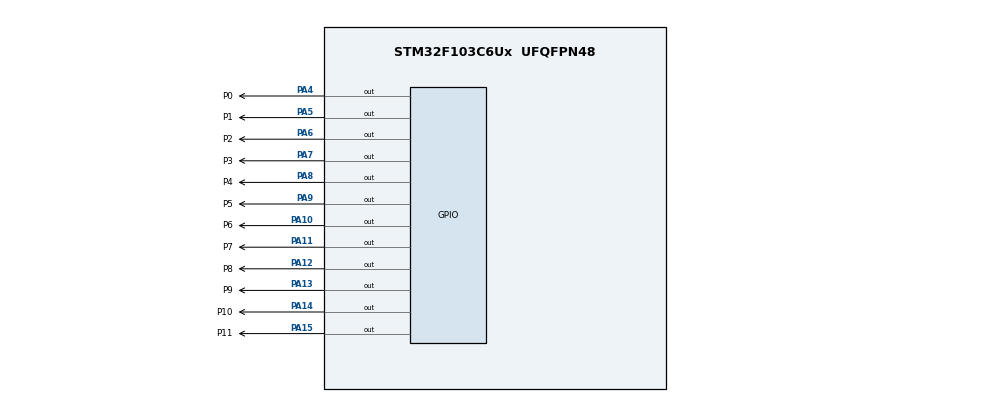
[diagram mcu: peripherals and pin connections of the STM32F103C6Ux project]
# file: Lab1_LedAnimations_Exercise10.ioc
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Mcu.Family=STM32F1
Mcu.Name=STM32F103C6Ux
Mcu.Package=UFQFPN48
NVIC.PriorityGroup=NVIC_PRIORITYGROUP_4
PA10.GPIO_Label=P6
PA10.Signal=GPIO_Output
PA11.GPIO_Label=P7
PA11.Signal=GPIO_Output
PA12.GPIO_Label=P8
PA12.Signal=GPIO_Output
PA13.GPIO_Label=P9
PA13.Signal=GPIO_Output
PA14.GPIO_Label=P10
PA14.Signal=GPIO_Output
PA15.GPIO_Label=P11
PA15.Signal=GPIO_Output
PA4.GPIO_Label=P0
PA4.Signal=GPIO_Output
PA5.GPIO_Label=P1
PA5.Signal=GPIO_Output
PA6.GPIO_Label=P2
PA6.Signal=GPIO_Output
PA7.GPIO_Label=P3
PA7.Signal=GPIO_Output
PA8.GPIO_Label=P4
PA8.Signal=GPIO_Output
PA9.GPIO_Label=P5
PA9.Signal=GPIO_Output
ProjectManager.HeapSize=0x200
ProjectManager.StackSize=0x400
ProjectManager.TargetToolchain=STM32CubeIDE
RCC.APB1Freq_Value=8000000
RCC.APB2Freq_Value=8000000
VP_SYS_VS_ND.Mode=No_Debug
board=custom

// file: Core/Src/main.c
/* USER CODE BEGIN Header */
/**
  ******************************************************************************
  * @file           : main.c
  * @brief          : Main program body
  ******************************************************************************
  * @attention
  *
  * <h2><center>&copy; Copyright (c) 2022 STMicroelectronics.
  * All rights reserved.</center></h2>
  *
  * This software component is licensed by ST under BSD 3-Clause license,
  * the "License"; You may not use this file except in compliance with the
  * License. You may obtain a copy of the License at:
  *                        opensource.org/licenses/BSD-3-Clause
  *
  ******************************************************************************
  */
/* USER CODE END Header */
#include "main.h"

void SystemClock_Config(void);
static void MX_GPIO_Init(void);

/* USER CODE BEGIN 0 */
void clearAllClock() {
	HAL_GPIO_WritePin(P0_GPIO_Port, P0_Pin, GPIO_PIN_RESET);
	HAL_GPIO_WritePin(P1_GPIO_Port, P1_Pin, GPIO_PIN_RESET);
	HAL_GPIO_WritePin(P2_GPIO_Port, P2_Pin, GPIO_PIN_RESET);
	HAL_GPIO_WritePin(P3_GPIO_Port, P3_Pin, GPIO_PIN_RESET);
	HAL_GPIO_WritePin(P4_GPIO_Port, P4_Pin, GPIO_PIN_RESET);
	HAL_GPIO_WritePin(P5_GPIO_Port, P5_Pin, GPIO_PIN_RESET);
	HAL_GPIO_WritePin(P6_GPIO_Port, P6_Pin, GPIO_PIN_RESET);
	HAL_GPIO_WritePin(P7_GPIO_Port, P7_Pin, GPIO_PIN_RESET);
	HAL_GPIO_WritePin(P8_GPIO_Port, P8_Pin, GPIO_PIN_RESET);
	HAL_GPIO_WritePin(P9_GPIO_Port, P9_Pin, GPIO_PIN_RESET);
	HAL_GPIO_WritePin(P10_GPIO_Port, P10_Pin, GPIO_PIN_RESET);
	HAL_GPIO_WritePin(P11_GPIO_Port, P11_Pin, GPIO_PIN_RESET);
}

void setNumberOnClock(int num) {
	if (num == 0) {
		HAL_GPIO_WritePin(P0_GPIO_Port, P0_Pin, GPIO_PIN_SET);
	}
	else if (num == 1) {
		HAL_GPIO_WritePin(P1_GPIO_Port, P1_Pin, GPIO_PIN_SET);
	}
	else if (num == 2) {
		HAL_GPIO_WritePin(P2_GPIO_Port, P2_Pin, GPIO_PIN_SET);
	}
	else if (num == 3) {
		HAL_GPIO_WritePin(P3_GPIO_Port, P3_Pin, GPIO_PIN_SET);
	}
	else if (num == 4) {
		HAL_GPIO_WritePin(P4_GPIO_Port, P4_Pin, GPIO_PIN_SET);
	}
	else if (num == 5) {
		HAL_GPIO_WritePin(P5_GPIO_Port, P5_Pin, GPIO_PIN_SET);
	}
	else if (num == 6) {
		HAL_GPIO_WritePin(P6_GPIO_Port, P6_Pin, GPIO_PIN_SET);
	}
	else if (num == 7) {
		HAL_GPIO_WritePin(P7_GPIO_Port, P7_Pin, GPIO_PIN_SET);
	}
	else if (num == 8) {
		HAL_GPIO_WritePin(P8_GPIO_Port, P8_Pin, GPIO_PIN_SET);
	}
	else if (num == 9) {
		HAL_GPIO_WritePin(P9_GPIO_Port, P9_Pin, GPIO_PIN_SET);
	}
	else if (num == 10) {
		HAL_GPIO_WritePin(P10_GPIO_Port, P10_Pin, GPIO_PIN_SET);
	}
	else if (num == 11) {
		HAL_GPIO_WritePin(P11_GPIO_Port, P11_Pin, GPIO_PIN_SET);
	}
}

void clearNumberOnClock(int num) {
	if (num == 0) {
		HAL_GPIO_WritePin(P0_GPIO_Port, P0_Pin, GPIO_PIN_RESET);
	}
	else if (num == 1) {
		HAL_GPIO_WritePin(P1_GPIO_Port, P1_Pin, GPIO_PIN_RESET);
	}
	else if (num == 2) {
		HAL_GPIO_WritePin(P2_GPIO_Port, P2_Pin, GPIO_PIN_RESET);
	}
	else if (num == 3) {
		HAL_GPIO_WritePin(P3_GPIO_Port, P3_Pin, GPIO_PIN_RESET);
	}
	else if (num == 4) {
		HAL_GPIO_WritePin(P4_GPIO_Port, P4_Pin, GPIO_PIN_RESET);
	}
	else if (num == 5) {
		HAL_GPIO_WritePin(P5_GPIO_Port, P5_Pin, GPIO_PIN_RESET);
	}
	else if (num == 6) {
		HAL_GPIO_WritePin(P6_GPIO_Port, P6_Pin, GPIO_PIN_RESET);
	}
	else if (num == 7) {
		HAL_GPIO_WritePin(P7_GPIO_Port, P7_Pin, GPIO_PIN_RESET);
	}
	else if (num == 8) {
		HAL_GPIO_WritePin(P8_GPIO_Port, P8_Pin, GPIO_PIN_RESET);
	}
	else if (num == 9) {
		HAL_GPIO_WritePin(P9_GPIO_Port, P9_Pin, GPIO_PIN_RESET);
	}
	else if (num == 10) {
		HAL_GPIO_WritePin(P10_GPIO_Port, P10_Pin, GPIO_PIN_RESET);
	}
	else if (num == 11) {
		HAL_GPIO_WritePin(P11_GPIO_Port, P11_Pin, GPIO_PIN_RESET);
	}
}
/* USER CODE END 0 */

int main(void)
{

  /* MCU Configuration--------------------------------------------------------*/

  /* Reset of all peripherals, Initializes the Flash interface and the Systick. */
  HAL_Init();

  /* Configure the system clock */
  SystemClock_Config();

  /* Initialize all configured peripherals */
  MX_GPIO_Init();
  /* USER CODE BEGIN 2 */
  int hour = 0;
  int minute = 0;
  int second = -1; //-1 for the beginning second
  int numMinute = 0;
  int numSecond = 0;
  /* USER CODE END 2 */

  /* Infinite loop */
  /* USER CODE BEGIN WHILE */
  while (1)
  {
	  	//led numbers to be displayed for second and minute
	  	numSecond = second / 5;
	  	numMinute = minute / 5;
	  	//clear current led for second if not also for minute or hour
	  	if (numSecond != numMinute && numSecond != hour && (second + 1) / 5 != numSecond)
	  		clearNumberOnClock(numSecond);

	  	second++;
	  	if (second >= 60) {
	  		second = 0;
	  		//clear current led for minute if not also for second or hour
	  		if (numSecond != numMinute && numMinute != hour && (minute + 1) / 5 != numMinute)
	  			clearNumberOnClock(numMinute);
	  		minute++;

	  		if (minute >= 60) {
	  			minute = 0;
	  			//clear current led for hour if not also for second or minute
	  			if (numSecond != hour && numMinute != hour)
	  				clearNumberOnClock(hour);
	  			hour++;

	  			if (hour >= 12) {
	  				hour = 0;
	  			}
	  		}
	  	}
	  	//set the led for current values of second, minute, hour
	  	setNumberOnClock(second / 5);
	  	setNumberOnClock(minute / 5);
	  	setNumberOnClock(hour);
	  	HAL_Delay(1000);
    /* USER CODE END WHILE */

  }
}

void SystemClock_Config(void)
{
  RCC_OscInitTypeDef RCC_OscInitStruct = {0};
  RCC_ClkInitTypeDef RCC_ClkInitStruct = {0};

  /** Initializes the RCC Oscillators according to the specified parameters
  * in the RCC_OscInitTypeDef structure.
  */
  RCC_OscInitStruct.OscillatorType = RCC_OSCILLATORTYPE_HSI;
  RCC_OscInitStruct.HSIState = RCC_HSI_ON;
  RCC_OscInitStruct.HSICalibrationValue = RCC_HSICALIBRATION_DEFAULT;
  RCC_OscInitStruct.PLL.PLLState = RCC_PLL_NONE;
  if (HAL_RCC_OscConfig(&RCC_OscInitStruct) != HAL_OK)
  {
    Error_Handler();
  }
  /** Initializes the CPU, AHB and APB buses clocks
  */
  RCC_ClkInitStruct.ClockType = RCC_CLOCKTYPE_HCLK|RCC_CLOCKTYPE_SYSCLK
                              |RCC_CLOCKTYPE_PCLK1|RCC_CLOCKTYPE_PCLK2;
  RCC_ClkInitStruct.SYSCLKSource = RCC_SYSCLKSOURCE_HSI;
  RCC_ClkInitStruct.AHBCLKDivider = RCC_SYSCLK_DIV1;
  RCC_ClkInitStruct.APB1CLKDivider = RCC_HCLK_DIV1;
  RCC_ClkInitStruct.APB2CLKDivider = RCC_HCLK_DIV1;

  if (HAL_RCC_ClockConfig(&RCC_ClkInitStruct, FLASH_LATENCY_0) != HAL_OK)
  {
    Error_Handler();
  }
}

static void MX_GPIO_Init(void)
{
  GPIO_InitTypeDef GPIO_InitStruct = {0};

  /* GPIO Ports Clock Enable */
  __HAL_RCC_GPIOA_CLK_ENABLE();

  /*Configure GPIO pin Output Level */
  HAL_GPIO_WritePin(GPIOA, P0_Pin|P1_Pin|P2_Pin|P3_Pin
                          |P4_Pin|P5_Pin|P6_Pin|P7_Pin
                          |P8_Pin|P9_Pin|P10_Pin|P11_Pin, GPIO_PIN_RESET);

  /*Configure GPIO pins : P0_Pin P1_Pin P2_Pin P3_Pin
                           P4_Pin P5_Pin P6_Pin P7_Pin
                           P8_Pin P9_Pin P10_Pin P11_Pin */
  GPIO_InitStruct.Pin = P0_Pin|P1_Pin|P2_Pin|P3_Pin
                          |P4_Pin|P5_Pin|P6_Pin|P7_Pin
                          |P8_Pin|P9_Pin|P10_Pin|P11_Pin;
  GPIO_InitStruct.Mode = GPIO_MODE_OUTPUT_PP;
  GPIO_InitStruct.Pull = GPIO_NOPULL;
  GPIO_InitStruct.Speed = GPIO_SPEED_FREQ_LOW;
  HAL_GPIO_Init(GPIOA, &GPIO_InitStruct);

}

void Error_Handler(void)
{
  __disable_irq();
  while (1)
  {
  }
}

/************************ (C) COPYRIGHT STMicroelectronics *****END OF FILE****/
